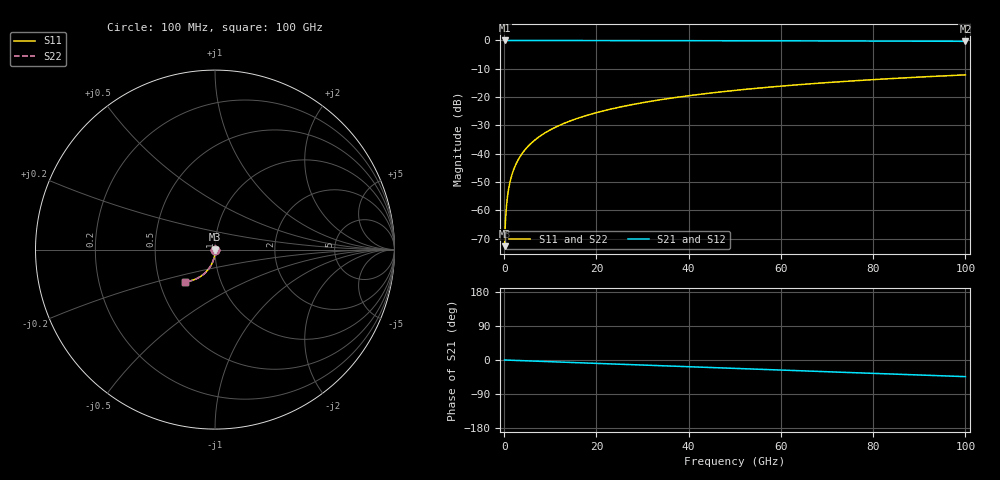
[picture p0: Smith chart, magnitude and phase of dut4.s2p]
! Touchstone file exported from HFSS 2026.1.0
!  File:  C:/ffzhzh/LocalFiles/Ansys_Project_Files/temp_train_TSV_4_1783504121_41296.aedt
!  Generated:  05:50:00 PM Jul  8, 2026
!  Design:  TSV
!  Project:  temp_train_TSV_4_1783504121_41296
! Variables:
!  h_bsmrdl = 2um
!  h_ox = 20um
!  h_rdl = 5um
!  h_sub = 87.71um
!  h_tmrdl = 5um
!  h_tsv = 87.71um
!  h_via = 3um
!  l_bsmrdl = 300um
!  l_sub = 428.16um
!  l_tmrdl = 200um
!  m_sub = 200um
!  pitch = 41.63um
!  r_tsv = 14.08um
!  s_tmrdl = 10um
!  w_bsmrdl = 18um
!  w_sub = 500um
!  w_tmrdl = 12um
!  x_tsv_center1 = 206um
!  x_tsv_center2 = 524um
!  x_tsv_center3 = 736um
!  x_tsv_center4 = 1054um
!  x_tsv_center5 = 1266um
!  x_tsv_center6 = 1584um
# GHz S MA R 50.000000
! Terminal data exported
! Port[1] = TSV1_1_T1
! Port[2] = TSV1_1_T2
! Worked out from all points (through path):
!   1000 points, 100 MHz to 100 GHz, reference 50 ohm
!   highest |S21| = 0.00 dB at 100 MHz (marker M1); lowest = -0.3 dB at 100 GHz (marker M2)
!   group delay of S21, straight-line fit = 1.22 ps
!   lowest |S11| = -72.6 dB at 100 MHz (marker M3), VSWR 1.00, Z = 50 - j0.0217 ohm
!   |S11| at or under -10 dB: start of sweep to end of sweep
!   |S22| runs from -72.6 to -12.1 dB; largest |S21 - S12| = 3.8e-15
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0.1  0.0002345 -67.9  0.9999 -0.0  0.9999 -0.0  0.0002345 -67.9
! Gamma 0 0 0 0
! Port Impedance 50 0 50 0
0.3  0.0006883 -79.0  0.9999 -0.1  0.9999 -0.1  0.0006883 -79.0
0.7  0.001697 -82.7  0.9998 -0.3  0.9998 -0.3  0.001697 -82.7
0.8  0.001957 -83.3  0.9998 -0.4  0.9998 -0.4  0.001957 -83.3
1  0.002478 -84.2  0.9997 -0.5  0.9997 -0.5  0.002478 -84.2
1.3  0.003261 -85.2  0.9997 -0.6  0.9997 -0.6  0.003261 -85.2
1.7  0.004307 -86.2  0.9996 -0.8  0.9996 -0.8  0.004307 -86.2
2.3  0.005882 -87.1  0.9996 -1.0  0.9996 -1.0  0.005882 -87.1
2.9  0.007467 -87.8  0.9995 -1.3  0.9995 -1.3  0.007467 -87.8
3.7  0.009589 -88.6  0.9994 -1.7  0.9994 -1.7  0.009589 -88.6
4.7  0.01225 -89.4  0.9993 -2.1  0.9993 -2.1  0.01225 -89.4
5.8  0.01519 -90.2  0.9992 -2.6  0.9992 -2.6  0.01519 -90.2
8.6  0.02268 -91.9  0.999 -3.9  0.999 -3.9  0.02268 -91.9
12.2  0.03232 -93.8  0.9985 -5.5  0.9985 -5.5  0.03232 -93.8
16.8  0.04464 -96.1  0.9979 -7.5  0.9979 -7.5  0.04464 -96.1
24.2  0.06437 -99.6  0.9966 -10.8  0.9966 -10.8  0.06437 -99.6
33.4  0.08865 -103.9  0.9944 -14.9  0.9944 -14.9  0.08865 -103.9
41.2  0.1089 -107.4  0.9922 -18.3  0.9922 -18.3  0.1089 -107.4
50.1  0.1317 -111.4  0.9893 -22.2  0.9893 -22.2  0.1317 -111.4
66.7  0.1726 -118.8  0.9826 -29.5  0.9826 -29.5  0.1726 -118.8
83.4  0.2113 -126.1  0.9745 -36.8  0.9745 -36.8  0.2113 -126.1
100  0.2471 -133.3  0.9655 -43.9  0.9655 -43.9  0.2471 -133.3
